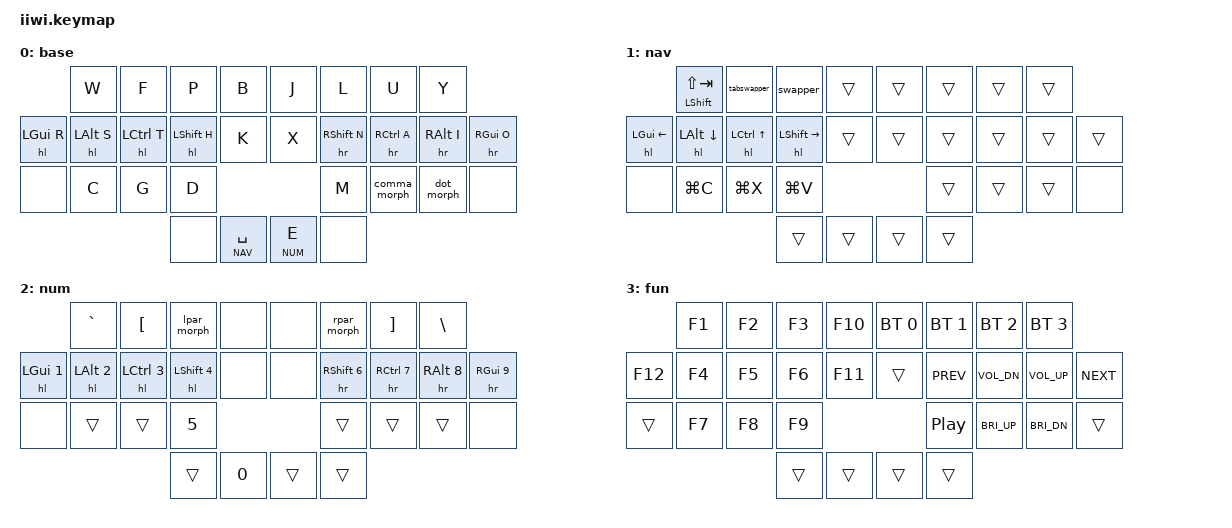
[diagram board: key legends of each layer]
/*
 * Copyright (c) 2024 The ZMK Contributors
 *
 * SPDX-License-Identifier: MIT
 */

#include <behaviors.dtsi>
#include <dt-bindings/zmk/bt.h>
#include <dt-bindings/zmk/keys.h>
#include <dt-bindings/zmk/outputs.h>

#include <behaviors/num_word.dtsi>

#include "zmk-helpers/helper.h"
#include "iiwi.h"

#define XXX &none
#define ___ &trans

/* Layer mapping */
#define APT  0
#define NAV  1
#define NUM  2
#define FUN  3

/* Global defaults */
#define QUICK_TAP_MS 175

&soft_off { hold-time-ms = <5000>; };

&sk {
  release-after-ms = <900>;
  quick-release;
};

&sl { // Allow sticky mods to chord across sticky layers.
  ignore-modifiers;
};

&lt {
  flavor = "balanced";
  tapping-term-ms = <200>;
  quick-tap-ms = <QUICK_TAP_MS>;
};


/* Magic-shift & auto-layers */

// Tap: repeat after alpha, else sticky-shift |
// Shift + tap/ double-tap: caps-word | Hold: shift.
#define MAGIC_SHIFT &magic_shift LSHFT 0
ZMK_HOLD_TAP(magic_shift, bindings = <&kp>, <&magic_shift_tap>;
             flavor = "balanced"; tapping-term-ms = <200>;
             quick-tap-ms = <QUICK_TAP_MS>;)
ZMK_MOD_MORPH(magic_shift_tap, bindings = <&shift_repeat>, <&caps_word>;
              mods = <(MOD_LSFT)>;)
ZMK_ADAPTIVE_KEY(
    shift_repeat, bindings = <&sk LSHFT>;
    repeat {
      trigger-keys = <A B C D E F G H I J K L M N O P Q R S T U V W X Y Z>;
      bindings = <&key_repeat>;
      max-prior-idle-ms = <1200>;
      strict-modifiers;
    };)
&caps_word { // Mods deactivate caps-word, requires PR #1451. [TODO: rebase]
  /delete-property/ ignore-modifiers;
};

/* Custom behaviors */
ZMK_CONDITIONAL_LAYER(function, NUM  NAV, FUN)

// Alt+Tab swapper, requires tri-state module.
ZMK_TRI_STATE(swapper, bindings = <&kt LGUI>, <&kp TAB>, <&kt LGUI>;
              ignored-key-positions = <LT3 LM1 LM2 LM3 LM4>;)

ZMK_TRI_STATE(tabswapper, bindings = <&kt LCTL>, <&kp TAB>, <&kt LCTL>;
              ignored-key-positions = <LT3 LM1 LM2 LM3 LM4>;)


// Define mod-morph with a *single* mod trigger for less repetition.
#define SIMPLE_MORPH(NAME, MOD, BINDING1, BINDING2)                            \
  ZMK_MOD_MORPH(NAME, mods = <(MOD_L##MOD | MOD_R##MOD)>;                      \
                bindings = <BINDING1>, <BINDING2>;)

// Tap: comma | Shift + tap: semicolon
SIMPLE_MORPH(comma_morph, SFT, &kp COMMA, &kp SEMICOLON)
// Tap: period | Shift + tap: colon
SIMPLE_MORPH(dot_morph, SFT, &kp DOT, &kp COLON)

// Tap: parentheses | Shift + tap: angle bracket
SIMPLE_MORPH(lpar_morph, SFT, &kp LPAR, &kp LT)
SIMPLE_MORPH(rpar_morph, SFT, &kp RPAR, &kp GT)

// Tap: backspace | Shift + tap: delete
SIMPLE_MORPH(bksp_del, SFT, &kp BACKSPACE, &kp DELETE)

SIMPLE_MORPH(smart_shift, SFT, &sk LSHIFT, &caps_word)

/* Macros */
ZMK_MACRO(qu,
  bindings = <&kp Q &kp U>;
)

/* Homerow mods */
#define KEYS_L LT0 LT1 LT2 LT3 LM0 LM1 LM2 LM3 LM4 LB1 LB2 LB3 LB4
#define KEYS_R RT0 RT1 RT2 RT3 RM0 RM1 RM2 RM3 RM4 RB1 RB2 RB3 RB4
#define THUMBS LH1 LH0 RH0 RH1

#define MAKE_HRM(NAME, HOLD, TAP, TRIGGER_POS)                                 \
  ZMK_HOLD_TAP(NAME, bindings = <HOLD>, <TAP>; flavor = "balanced";            \
               tapping-term-ms = <280>; quick-tap-ms = <QUICK_TAP_MS>;         \
               require-prior-idle-ms = <150>; hold-trigger-on-release;         \
               hold-trigger-key-positions = <TRIGGER_POS>;)

MAKE_HRM(hl, &kp, &kp, KEYS_R THUMBS) // Left-hand HRMs.
MAKE_HRM(hr, &kp, &kp, KEYS_L THUMBS) // Right-hand HRMs.

// Hack: Make HRM combos tap-only (cf, ZMK issue #544).
#define ZMK_COMBO_8(NAME, TAP, POS, LAYERS, COMBO_MS, IDLE_MS, HOLD, SIDE)     \
  MAKE_HRM(hm_combo_##NAME, &kp, TAP, SIDE THUMBS)                             \
  ZMK_COMBO_6(NAME, &hm_combo_##NAME HOLD 0, POS, LAYERS, COMBO_MS, IDLE_MS)

/* Combos */

#include "combos.dtsi" // Must be sourced after HRM-combo hack.

ZMK_LAYER(base,
     //               ╭─────────────┬─────────────┬─────────────┬─────────────╮   ╭─────────────┬─────────────┬─────────────┬─────────────╮
                        &kp W         &kp F         &kp P         &kp B             &kp J         &kp L         &kp U         &kp Y
     // ╭─────────────┼─────────────┼─────────────┼─────────────┼─────────────┤   ├─────────────┼─────────────┼─────────────┼─────────────┼─────────────╮
          &hl LGUI R    &hl LALT S    &hl LCTRL T   &hl LSHFT H   &kp K             &kp X         &hr RSHFT N   &hr RCTRL A   &hr RALT I    &hr RGUI O
     // ├─────────────┼─────────────┼─────────────┼─────────────┼─────────────╯   ╰─────────────┼─────────────┼─────────────┼─────────────┼─────────────┤
          XXX           &kp C         &kp G         &kp D                                         &kp M         &comma_morph  &dot_morph    XXX
     // ╰─────────────┼─────────────┼─────────────┼─────────────┼─────────────╮   ╭─────────────┼─────────────┼─────────────┼─────────────┼─────────────╯
                                                    XXX           &lt NAV SPACE     &lt NUM  E    XXX
     //                                           ╰─────────────┴─────────────╯   ╰─────────────┴─────────────╯
)

ZMK_LAYER(nav,
//                ╭─────────────┬─────────────┬─────────────┬─────────────╮   ╭─────────────┬─────────────┬─────────────┬─────────────╮
              &mt LSHIFT LS(TAB)  &tabswapper   &swapper      ___               ___           ___           ___           ___
//  ╭─────────────┼─────────────┼─────────────┼─────────────┼─────────────┤   ├─────────────┼─────────────┼─────────────┼─────────────┼─────────────╮
      &hl LGUI LEFT &hl LALT DOWN &hl LCTL UP   &hl LSHIFT RIGHT ___            ___           ___           ___           ___           ___
//  ╰─────────────┼─────────────┼─────────────┼─────────────┼─────────────╯   ╰─────────────┼─────────────┼─────────────┼─────────────┼─────────────╯
      XXX           &kp LG(C)     &kp LG(X)     &kp LG(V)                                    ___           ___           ___            XXX
//                ╰─────────────┼─────────────┼─────────────┼─────────────╮   ╭─────────────┼─────────────┼─────────────┼─────────────╯
                                                ___           ___               ___           ___
//                                            ╰─────────────┴─────────────╯   ╰─────────────┴─────────────╯
)

ZMK_LAYER(num,
//                ╭─────────────┬─────────────┬─────────────┬─────────────╮   ╭─────────────┬─────────────┬─────────────┬─────────────╮
                    &kp GRAVE     &kp LBKT      &lpar_morph   XXX               XXX           &rpar_morph   &kp RBKT      &kp BSLH
//  ╭─────────────┼─────────────┼─────────────┼─────────────┼─────────────┤   ├─────────────┼─────────────┼─────────────┼─────────────┼─────────────╮
      &hl LGUI N1   &hl LALT N2   &hl LCTRL N3  &hl LSHFT N4  XXX               XXX           &hr RSHFT N6  &hr RCTRL N7  &hr RALT N8   &hr RGUI N9
//  ╰─────────────┼─────────────┼─────────────┼─────────────┼─────────────╯   ╰─────────────┼─────────────┼─────────────┼─────────────┼─────────────╯
      XXX           ___           ___           &kp N5                                        ___           ___           ___           XXX
//                ╰─────────────┼─────────────┼─────────────┼─────────────╮   ╭─────────────┼─────────────┼─────────────┼─────────────╯
                                                ___           &kp N0            ___           ___
//                                            ╰─────────────┴─────────────╯   ╰─────────────┴─────────────╯
)
ZMK_LAYER(fun,
     //               ╭─────────────┬─────────────┬─────────────┬─────────────╮   ╭─────────────┬─────────────┬─────────────┬─────────────╮
                        &kp F1        &kp F2        &kp F3        &kp F10           &bt BT_SEL 0  &bt BT_SEL 1  &bt BT_SEL 2  &bt BT_SEL 3
     // ╭─────────────┼─────────────┼─────────────┼─────────────┼─────────────┤   ├─────────────┼─────────────┼─────────────┼─────────────┼─────────────╮
          &kp F12       &kp F4        &kp F5        &kp F6        &kp F11           ___           &kp C_PREV    &kp C_VOL_DN  &kp C_VOL_UP  &kp C_NEXT
     // ├─────────────┼─────────────┼─────────────┼─────────────┼─────────────╯   ╰─────────────┼─────────────┼─────────────┼─────────────┼─────────────┤
          ___           &kp F7        &kp F8        &kp F9                                        &kp C_PP      &kp C_BRI_UP  &kp C_BRI_DN  ___
     // ╰─────────────┼─────────────┼─────────────┼─────────────┼─────────────╮   ╭─────────────┼─────────────┼─────────────┼─────────────┼─────────────╯
                                                    ___           ___               ___           ___
     //                                           ╰─────────────┴─────────────╯   ╰─────────────┴─────────────╯
)
